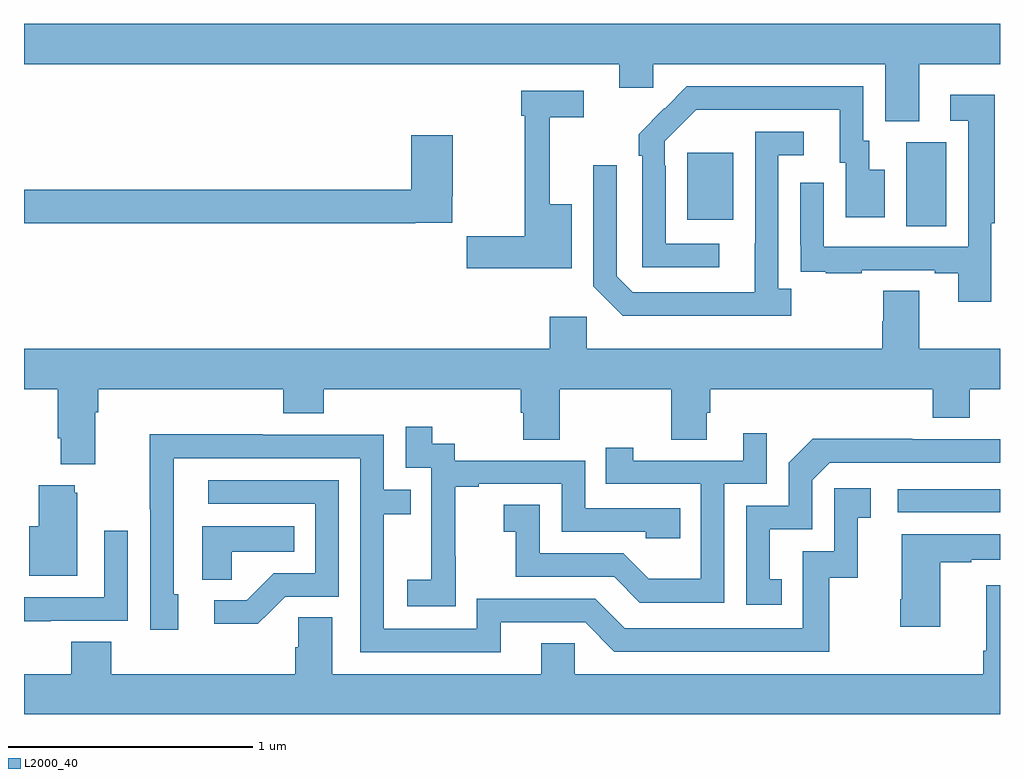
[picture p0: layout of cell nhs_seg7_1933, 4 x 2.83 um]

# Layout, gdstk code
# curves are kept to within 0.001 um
import gdstk
lib = gdstk.Library(unit=1e-6, precision=1e-09)
def R(c, l, rs):  # rectangles x0, y0, x1, y1
    for r in rs: c.add(gdstk.rectangle(r[:2], r[2:], *l))
def P(c, l, *ps):  # polygons
    for p in ps: c.add(gdstk.Polygon(p, *l))
L2000_40 = (2000, 40)

nhs_seg7_1933 = lib.new_cell('nhs_seg7_1933')
R(nhs_seg7_1933, L2000_40, [(244.581,1001.442,245,1001.538), (244.616,1002.616,244.78,1002.96), (243.719,1002.641,243.907,1002.916)])
P(nhs_seg7_1933, L2000_40, [(244.669,1003.28),(245,1003.28),(245,1003.444),(241,1003.444),(241,1003.28),(243.44,1003.28),(243.44,1003.182),(243.579,1003.182),(243.579,1003.28),(244.529,1003.28),(244.529,1003.045),(244.669,1003.045)],
  [(243.85,1002.543),(243.63,1002.543),(243.63,1002.863),(243.627,1002.863),(243.627,1002.963),(243.756,1003.092),(244.343,1003.092),(244.343,1002.876),(244.367,1002.876),(244.367,1002.651),(244.528,1002.651),(244.528,1002.847),(244.465,1002.847),(244.465,1002.966),(244.44,1002.966),(244.44,1003.188),(243.716,1003.188),(243.519,1002.993),(243.519,1002.905),(243.534,1002.905),(243.534,1002.447),(243.85,1002.447)],
  [(243.244,1002.706),(243.155,1002.706),(243.155,1003.062),(243.295,1003.062),(243.295,1003.17),(243.037,1003.17),(243.037,1003.067),(243.052,1003.067),(243.052,1002.574),(242.814,1002.574),(242.814,1002.442),(243.244,1002.442)],
  [(244.965,1002.628),(244.978,1002.628),(244.978,1003.153),(244.797,1003.153),(244.797,1003.047),(244.869,1003.047),(244.869,1002.531),(244.278,1002.531),(244.278,1002.793),(244.182,1002.793),(244.182,1002.538),(244.183,1002.538),(244.183,1002.429),(244.285,1002.429),(244.285,1002.423),(244.433,1002.423),(244.433,1002.435),(244.733,1002.435),(244.733,1002.423),(244.829,1002.423),(244.829,1002.306),(244.965,1002.306)],
  [(244.144,1002.358),(244.092,1002.358),(244.092,1002.906),(244.195,1002.906),(244.195,1003.002),(243.996,1003.002),(243.995,1002.345),(243.495,1002.345),(243.429,1002.411),(243.429,1002.865),(243.333,1002.865),(243.333,1002.369),(243.454,1002.248),(244.144,1002.248)],
  [(242.604,1002.63),(242.755,1002.63),(242.755,1002.739),(242.758,1002.739),(242.758,1002.988),(242.588,1002.988),(242.588,1002.764),(241,1002.764),(241,1002.628),(242.604,1002.628)],
  [(241.291,1001.852),(241.304,1001.852),(241.304,1001.948),(242.063,1001.948),(242.063,1001.849),(242.228,1001.849),(242.228,1001.948),(243.035,1001.948),(243.035,1001.85),(243.047,1001.85),(243.047,1001.74),(243.195,1001.74),(243.195,1001.948),(243.652,1001.948),(243.652,1001.74),(243.799,1001.74),(243.799,1001.85),(243.812,1001.85),(243.812,1001.948),(244.724,1001.948),(244.724,1001.831),(244.876,1001.831),(244.876,1001.948),(245,1001.948),(245,1002.112),(244.669,1002.112),(244.669,1002.35),(244.522,1002.35),(244.522,1002.225),(244.517,1002.225),(244.517,1002.112),(243.306,1002.112),(243.306,1002.244),(243.155,1002.244),(243.155,1002.112),(241,1002.112),(241,1001.948),(241.139,1001.948),(241.139,1001.746),(241.151,1001.746),(241.151,1001.639),(241.291,1001.639)],
  [(242.769,1001.263),(242.768,1001.263),(242.768,1001.547),(242.863,1001.547),(242.863,1001.559),(243.204,1001.559),(243.204,1001.364),(243.549,1001.364),(243.549,1001.337),(243.689,1001.337),(243.689,1001.46),(243.3,1001.46),(243.3,1001.655),(242.766,1001.655),(242.766,1001.724),(242.674,1001.724),(242.674,1001.794),(242.565,1001.794),(242.565,1001.625),(242.67,1001.625),(242.67,1001.396),(242.669,1001.396),(242.669,1001.167),(242.571,1001.167),(242.571,1001.057),(242.769,1001.057)],
  [(243.87,1001.559),(244.044,1001.559),(244.044,1001.767),(243.947,1001.767),(243.947,1001.655),(243.496,1001.655),(243.496,1001.707),(243.385,1001.707),(243.385,1001.559),(243.774,1001.559),(243.774,1001.17),(243.56,1001.17),(243.456,1001.274),(243.114,1001.274),(243.114,1001.473),(242.967,1001.473),(242.967,1001.363),(243.016,1001.363),(243.016,1001.178),(243.419,1001.178),(243.524,1001.073),(243.87,1001.073)],
  [(242.953,1000.992),(243.3,1000.992),(243.42,1000.872),(244.3,1000.872),(244.3,1001.175),(244.418,1001.175),(244.418,1001.421),(244.471,1001.421),(244.471,1001.542),(244.32,1001.542),(244.32,1001.283),(244.191,1001.283),(244.191,1000.968),(243.462,1000.968),(243.342,1001.088),(242.856,1001.088),(242.856,1000.965),(242.475,1000.965),(242.475,1001.434),(242.585,1001.434),(242.585,1001.535),(242.475,1001.535),(242.475,1001.76),(241.979,1001.76),(241.979,1001.762),(241.516,1001.762),(241.516,1001.455),(241.518,1001.455),(241.518,1000.962),(241.633,1000.962),(241.633,1001.106),(241.614,1001.106),(241.614,1001.664),(242.379,1001.664),(242.379,1000.869),(242.953,1000.869)],
  [(244.106,1001.169),(244.057,1001.169),(244.057,1001.373),(244.23,1001.373),(244.23,1001.574),(244.302,1001.646),(245,1001.646),(245,1001.742),(244.64,1001.742),(244.64,1001.744),(244.232,1001.744),(244.134,1001.646),(244.134,1001.469),(243.96,1001.469),(243.96,1001.064),(244.106,1001.064)],
  [(242.005,1001.032),(242.07,1001.097),(242.289,1001.097),(242.289,1001.574),(241.755,1001.574),(241.755,1001.478),(242.193,1001.478),(242.193,1001.193),(242.024,1001.193),(241.913,1001.082),(241.779,1001.082),(241.779,1000.985),(241.957,1000.985)],
  [(241.219,1001.523),(241.208,1001.523),(241.208,1001.554),(241.061,1001.554),(241.061,1001.386),(241.022,1001.386),(241.022,1001.183),(241.219,1001.183)],
  [(241.851,1001.282),(242.108,1001.282),(242.108,1001.386),(241.73,1001.386),(241.73,1001.167),(241.851,1001.167)],
  [(241.109,1000.998),(241.425,1000.998),(241.425,1001.368),(241.329,1001.368),(241.329,1001.094),(241,1001.094),(241,1000.997),(241.109,1000.997)],
  [(244.756,1001.239),(244.883,1001.239),(244.883,1001.249),(245,1001.249),(245,1001.353),(244.598,1001.353),(244.598,1001.086),(244.591,1001.086),(244.591,1000.974),(244.756,1000.974)],
  [(245,1001.143),(244.943,1001.143),(244.943,1000.876),(244.931,1000.876),(244.931,1000.78),(243.258,1000.78),(243.258,1000.907),(243.119,1000.907),(243.119,1000.78),(242.263,1000.78),(242.263,1001.012),(242.124,1001.012),(242.124,1000.889),(242.111,1000.889),(242.111,1000.78),(241.358,1000.78),(241.358,1000.913),(241.193,1000.913),(241.193,1000.78),(241,1000.78),(241,1000.616),(245,1000.616)])

lib.write_gds('nhs_seg7_1933.gds')
